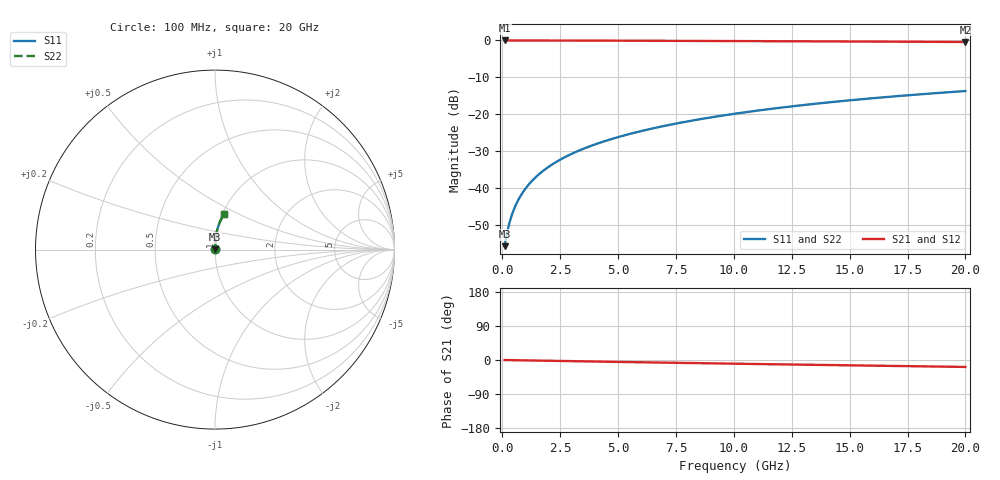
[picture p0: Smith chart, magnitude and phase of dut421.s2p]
! Touchstone file exported from HFSS 2024.1.0
!  File:  C:/UserFiles/LocalFiles/RDL_TSV_Batchsim/temp_RDL_bottom_421_1779683739.aedt
!  Generated:  12:38:14 PM May 25, 2026
!  Design:  RDL_bottom
!  Project:  temp_RDL_bottom_421_1779683739
!  Setup:  Setup1
!  Solution:  Sweep
! Variables:
!  dtsv = 10.80580581um
!  hbump = 3um
!  htsv = 66.8um
!  ldown = 231.59um
!  lrdl = 100um
!  p = 40
!  p1 = 45.58um
!  rhole = 1um
!  t = 450um
!  tdown = 4.14um
!  trdl = 3.915915916um
!  wdown = 18.01um
!  wrdl = 20um
# GHz S MA R 50.000000
! Terminal data exported
! Port[1] = RDL1_T1
! Port[2] = RDL1_T2
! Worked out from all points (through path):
!   200 points, 100 MHz to 20 GHz, reference 50 ohm
!   highest |S21| = -0.01 dB at 100 MHz (marker M1); lowest = -0.4 dB at 20 GHz (marker M2)
!   group delay of S21, straight-line fit = 2.53 ps
!   lowest |S11| = -55.8 dB at 100 MHz (marker M3), VSWR 1.00, Z = 50.1 + j0.103 ohm
!   |S11| at or under -10 dB: start of sweep to end of sweep
!   |S22| runs from -55.8 to -13.7 dB; largest |S21 - S12| = 2.6e-15
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0.1  0.00163 39.3  0.9987 -0.1  0.9987 -0.1  0.00163 39.3
! Gamma 0 0 0 0
! Port Impedance 50 0 50 0
0.2  0.002419 57.2  0.9987 -0.2  0.9987 -0.2  0.002419 57.2
0.3  0.0033 65.7  0.9986 -0.3  0.9986 -0.3  0.0033 65.7
0.4  0.004205 70.6  0.9986 -0.4  0.9986 -0.4  0.004205 70.6
0.5  0.005121 73.8  0.9985 -0.5  0.9985 -0.5  0.005121 73.8
0.6  0.006046 76.1  0.9984 -0.6  0.9984 -0.6  0.006046 76.1
0.8  0.007915 79.2  0.9983 -0.8  0.9983 -0.8  0.007915 79.2
1.1  0.01075 81.9  0.9981 -1.1  0.9981 -1.1  0.01075 81.9
1.5  0.01457 83.8  0.9978 -1.6  0.9978 -1.6  0.01457 83.8
1.8  0.01745 84.7  0.9975 -1.9  0.9975 -1.9  0.01745 84.7
2.1  0.02034 85.3  0.9972 -2.2  0.9972 -2.2  0.02034 85.3
2.7  0.02616 86.1  0.9964 -2.8  0.9964 -2.8  0.02617 86.1
3.5  0.03401 86.5  0.9952 -3.6  0.9952 -3.6  0.03401 86.5
4.2  0.04095 86.7  0.9939 -4.3  0.9939 -4.3  0.04095 86.7
5  0.04897 86.7  0.9922 -5.1  0.9922 -5.1  0.04897 86.7
5.9  0.05813 86.5  0.9902 -5.9  0.9902 -5.9  0.05813 86.5
6.8  0.0674 86.2  0.988 -6.8  0.988 -6.8  0.0674 86.2
8.4  0.08414 85.4  0.9841 -8.3  0.9841 -8.3  0.08414 85.4
10.1  0.1022 84.2  0.9797 -9.8  0.9797 -9.8  0.1022 84.2
13.4  0.1374 81.5  0.9711 -12.7  0.9711 -12.7  0.1374 81.5
16.7  0.1722 78.5  0.9622 -15.6  0.9622 -15.6  0.1722 78.5
20  0.2061 75.5  0.953 -18.3  0.953 -18.3  0.2061 75.5
